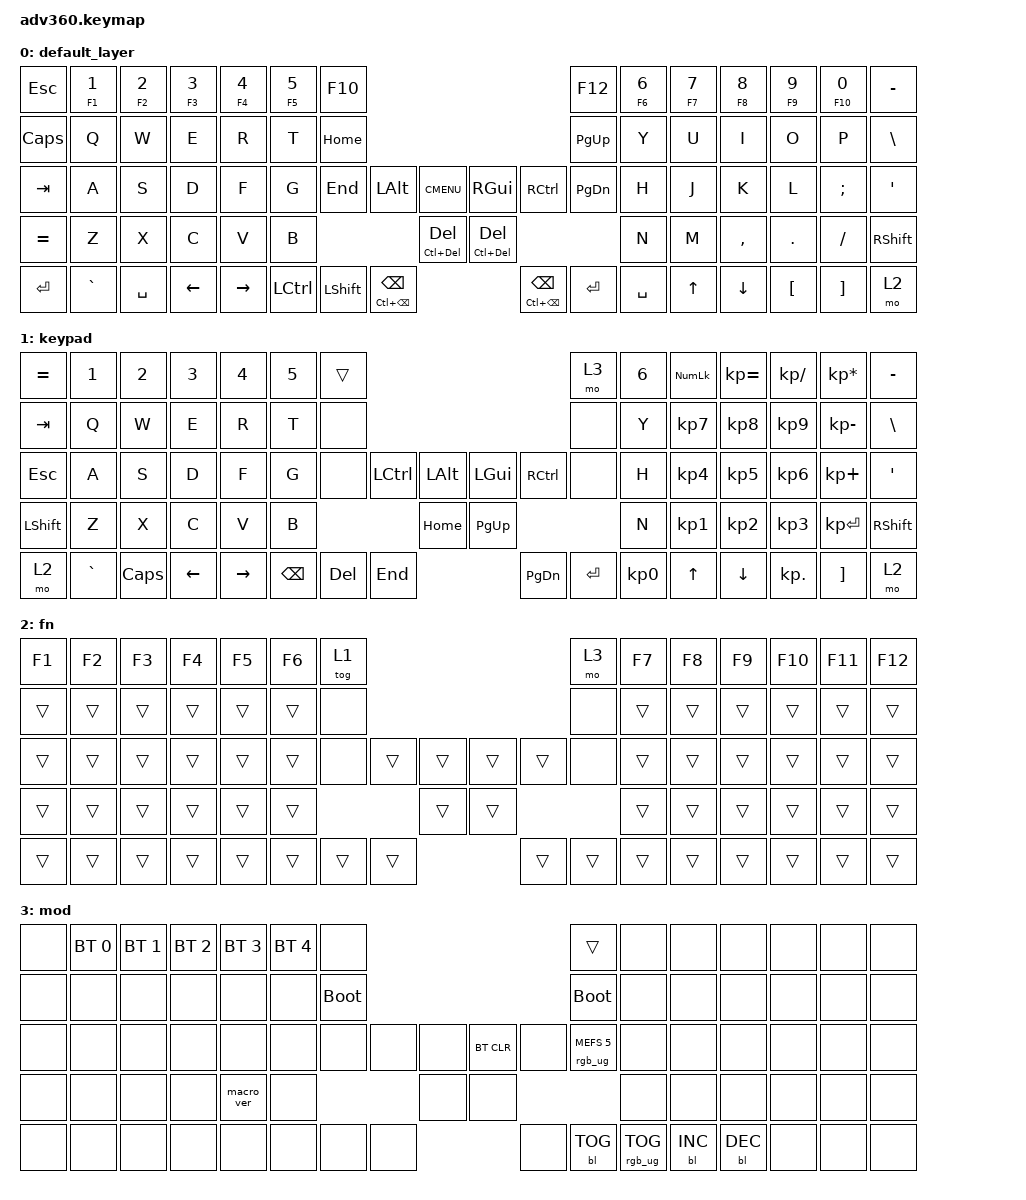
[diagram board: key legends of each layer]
#include <behaviors.dtsi>
#include <dt-bindings/zmk/keys.h>
#include <dt-bindings/zmk/bt.h>
#include <dt-bindings/zmk/rgb.h>
#include <dt-bindings/zmk/backlight.h>

#define AS(keycode) &as LS(keycode) keycode     // Autoshift Macro

/ {
    behaviors {
      #include "macros.dtsi"
      #include "version.dtsi"
      #ifndef VERSION_MACRO
      macro_ver: macro_ver {
        compatible = "zmk,behavior-macro";
        label = "macro_version";
        #binding-cells = <0>;
        bindings = <&kp RET>;
      };
      #endif

      hm: homerow_mods {
          compatible = "zmk,behavior-hold-tap";
          label = "HOMEROW_MODS";
          #binding-cells = <2>;
          tapping-term-ms = <225>;
          quick_tap_ms = <175>;
          flavor = "tap-preferred";
          bindings = <&kp>, <&kp>;
      };
     as: auto_shift {
        compatible = "zmk,behavior-hold-tap";
        label = "AUTO_SHIFT";
        #binding-cells = <2>;
        tapping_term_ms = <225>;
        quick_tap_ms = <0>;
        flavor = "tap-preferred";
        bindings = <&kp>, <&kp>;
    };
    };

  keymap {
    compatible = "zmk,keymap";


    default_layer {
      bindings = <
        &kp ESC &as F1 N1    &as F2 N2   &as F3 N3   &as F4 N4     &as F5 N5 &kp F10                                                           &kp F12 &as F6 N6 &as F7 N7 &as F8 N8    &as F9 N9   &as F10 N0   &kp MINUS
        &kp CAPS   &kp Q     &kp W    &kp E    &kp R      &kp T  &kp HOME                                                            &kp PG_UP &kp Y  &kp U  &kp I     &kp O    &kp P    &kp BSLH
        &kp TAB   &kp A     &kp S    &kp D    &kp F      &kp G  &kp END           &kp LALT &kp K_CMENU &kp RGUI  &kp RCTRL           &kp PG_DN &kp H  &kp J  &kp K     &kp L    &kp SEMI &kp SQT
        &kp EQUAL &kp Z     &kp X    &kp C    &kp V      &kp B                            &as LC(DEL) DEL &as LC(DEL) DEL                           &kp N  &kp M  &kp COMMA &kp DOT  &kp FSLH &kp RSHFT
        &kp ENTER     &kp GRAVE &kp SPACE &kp LEFT &kp RIGHT                &kp LCTRL &kp LSHFT   &as LC(BSPC) BSPC  &as LC(BSPC) BSPC &kp ENTER &kp SPACE              &kp UP &kp DOWN  &kp LBKT &kp RBKT &mo 2
      >;
    };
    keypad {
      bindings = <
        &kp EQUAL &kp N1    &kp N2   &kp N3   &kp N4     &kp N5 &trans                                                           &mo 3 &kp N6 &kp KP_NUM &kp KP_EQUAL &kp KP_DIVIDE &kp KP_MULTIPLY &kp MINUS
        &kp TAB   &kp Q     &kp W    &kp E    &kp R      &kp T  &none                                                            &none &kp Y  &kp KP_N7  &kp KP_N8    &kp KP_N9     &kp KP_MINUS    &kp BSLH
        &kp ESC   &kp A     &kp S    &kp D    &kp F      &kp G  &none           &kp LCTRL &kp LALT &kp LGUI  &kp RCTRL           &none &kp H  &kp KP_N4  &kp KP_N5    &kp KP_N6     &kp KP_PLUS     &kp SQT
        &kp LSHFT &kp Z     &kp X    &kp C    &kp V      &kp B                            &kp HOME &kp PG_UP                           &kp N  &kp KP_N1  &kp KP_N2    &kp KP_N3     &kp KP_ENTER    &kp RSHFT
        &mo 2     &kp GRAVE &kp CAPS &kp LEFT &kp RIGHT                &kp BSPC &kp DEL   &kp END  &kp PG_DN &kp ENTER &kp KP_N0              &kp UP     &kp DOWN     &kp KP_DOT    &kp RBKT        &mo 2
      >;
    };
    fn {
      bindings = <
        &kp F1 &kp F2 &kp F3 &kp F4 &kp F5 &kp F6 &tog 1                                           &mo 3 &kp F7 &kp F8 &kp F9 &kp F10 &kp F11 &kp F12
        &trans &trans &trans &trans &trans &trans  &none                                           &none &trans &trans &trans &trans  &trans  &trans
        &trans &trans &trans &trans &trans &trans  &none        &trans &trans &trans &trans        &none &trans &trans &trans &trans  &trans  &trans
        &trans &trans &trans &trans &trans &trans                      &trans &trans                     &trans &trans &trans &trans  &trans  &trans
        &trans &trans &trans &trans &trans               &trans &trans &trans &trans &trans &trans              &trans &trans &trans  &trans  &trans
      >;
    };
    mod {
      bindings = <
        &none &bt BT_SEL 0 &bt BT_SEL 1 &bt BT_SEL 2 &bt BT_SEL 3 &bt BT_SEL 4 &none                                                                     &trans                 &none        &none        &none        &none &none &none
        &none &none        &none        &none        &none        &none        &bootloader                                                               &bootloader            &none        &none        &none        &none &none &none
        &none &none        &none        &none        &none        &none        &none                   &none &none &bt BT_CLR &none                      &rgb_ug RGB_MEFS_CMD 5 &none        &none        &none        &none &none &none
        &none &none        &none        &none        &macro_ver   &none                                      &none &none                                                        &none        &none        &none        &none &none &none
        &none &none        &none        &none        &none                                       &none &none &none &none      &bl BL_TOG &rgb_ug RGB_TOG                                     &bl BL_INC   &bl BL_DEC   &none &none &none
      >;
    };
  };
};
